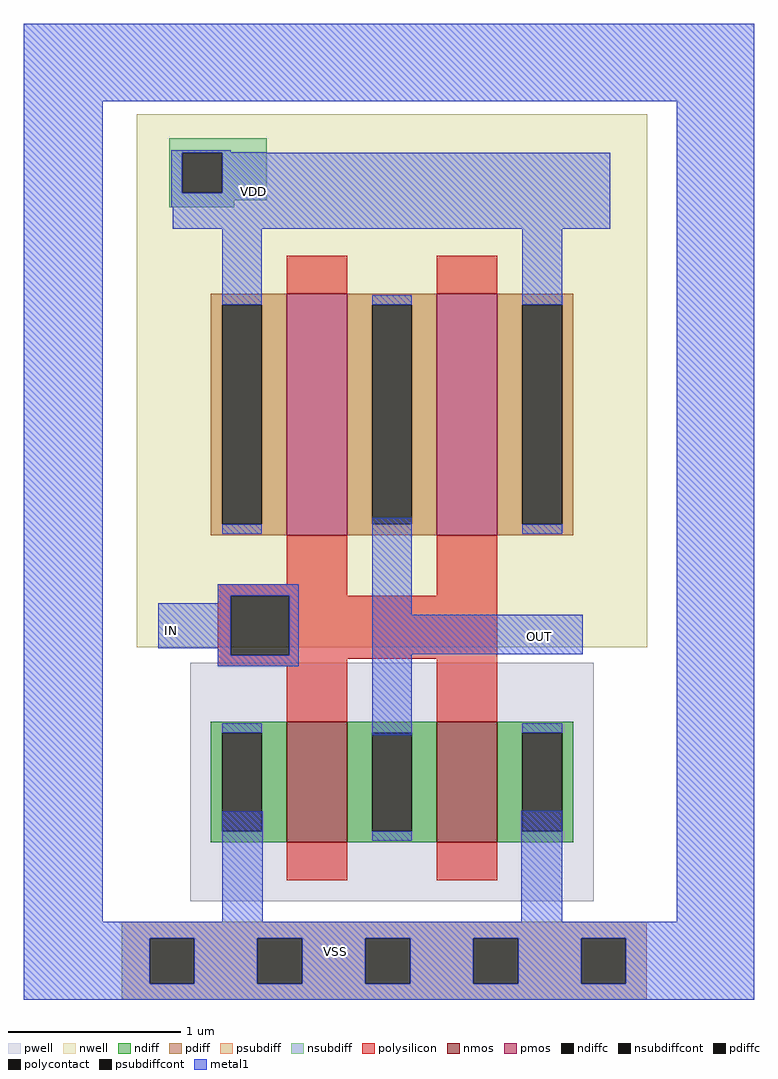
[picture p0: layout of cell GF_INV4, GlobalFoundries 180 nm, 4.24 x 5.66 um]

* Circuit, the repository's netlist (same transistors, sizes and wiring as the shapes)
* NGSPICE file created from GF_INV4.ext - technology: gf180mcuC

.subckt nmos_3p3_9MTZEK a_n52_n70# a_52_n114# a_n122_n114# a_n210_n70# a_122_n70#
+ VSUBS
X0 a_n52_n70# a_n122_n114# a_n210_n70# VSUBS nfet_03v3 ad=0.182p pd=1.22u as=0.308p ps=2.28u w=0.7u l=0.35u
X1 a_122_n70# a_52_n114# a_n52_n70# VSUBS nfet_03v3 ad=0.308p pd=2.28u as=0.182p ps=1.22u w=0.7u l=0.35u
.ends

.subckt pmos_3p3_585UPK a_52_n184# a_122_n140# a_n52_n140# a_n122_n184# a_n210_n140#
+ w_n296_n270#
X0 a_122_n140# a_52_n184# a_n52_n140# w_n296_n270# pfet_03v3 ad=0.616p pd=3.68u as=0.364p ps=1.92u w=1.4u l=0.35u
X1 a_n52_n140# a_n122_n184# a_n210_n140# w_n296_n270# pfet_03v3 ad=0.364p pd=1.92u as=0.616p ps=3.68u w=1.4u l=0.35u
.ends

.subckt GF_INV4 VDD IN OUT VSS
Xnmos_3p3_9MTZEK_0 OUT IN IN VSS VSS VSS nmos_3p3_9MTZEK
Xpmos_3p3_585UPK_0 IN VDD OUT IN VDD VDD pmos_3p3_585UPK
.ends

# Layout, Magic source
magic
tech gf180mcuC
magscale 1 10
<< nwell >>
rect -15 429 577 545
rect -15 428 17 429
rect 540 428 577 429
rect 27 420 534 426
<< psubdiff >>
rect -32 -410 576 -391
rect -32 -463 0 -410
rect 52 -463 125 -410
rect 177 -463 250 -410
rect 302 -463 375 -410
rect 427 -463 500 -410
rect 552 -463 576 -410
rect -32 -481 576 -463
<< nsubdiff >>
rect 23 500 136 517
rect 23 454 38 500
rect 84 454 136 500
rect 23 445 136 454
rect 23 437 98 445
<< psubdiffcont >>
rect 0 -463 52 -410
rect 125 -463 177 -410
rect 250 -463 302 -410
rect 375 -463 427 -410
rect 500 -463 552 -410
<< nsubdiffcont >>
rect 38 454 84 500
<< polysilicon >>
rect 159 0 229 16
rect 79 -13 229 0
rect 333 -13 403 17
rect 79 -82 94 -13
rect 162 -82 403 -13
rect 79 -86 403 -82
rect 79 -95 229 -86
rect 159 -117 229 -95
rect 333 -116 403 -86
<< polycontact >>
rect 94 -82 162 -13
<< metal1 >>
rect -146 560 701 650
rect -146 -391 -54 560
rect 25 501 94 503
rect 25 500 135 501
rect 25 454 38 500
rect 84 454 534 500
rect 25 437 534 454
rect 27 412 534 437
rect 84 333 130 412
rect 432 334 478 412
rect 79 -13 173 0
rect 79 -22 94 -13
rect 10 -74 94 -22
rect 79 -82 94 -74
rect 162 -82 173 -13
rect 79 -95 173 -82
rect 258 -35 304 77
rect 258 -81 502 -35
rect 258 -175 304 -81
rect 84 -391 131 -263
rect 431 -391 478 -262
rect 611 -391 701 560
rect -146 -410 701 -391
rect -146 -463 0 -410
rect 52 -463 125 -410
rect 177 -463 250 -410
rect 302 -463 375 -410
rect 427 -463 500 -410
rect 552 -463 701 -410
rect -146 -481 701 -463
use nmos_3p3_9MTZEK  nmos_3p3_9MTZEK_0
transform 1 0 281 0 1 -229
box -234 -138 234 138
use pmos_3p3_585UPK  pmos_3p3_585UPK_0
transform 1 0 281 0 1 197
box -296 -270 296 270
<< labels >>
flabel metal1 25 -53 25 -53 0 FreeSans 320 0 0 0 IN
port 1 nsew
flabel metal1 452 -60 452 -60 0 FreeSans 320 0 0 0 OUT
port 2 nsew
flabel metal1 216 -425 216 -425 0 FreeSans 320 0 0 0 VSS
port 3 nsew
flabel metal1 121 455 121 455 0 FreeSans 320 0 0 0 VDD
port 0 nsew
<< end >>

# cell nmos_3p3_9MTZEK: kit device nmos_3p3, w 0.7 l 0.35 m 1 nf 2 diffcov 100 polycov 100 guard 0 glc 0 grc 0 gtc 0 gbc 0 tbcov 100 rlcov 100 topc 0 botc 0 poverlap 0 doverlap 1 lmin 0.28 wmin 0.22 full_metal 0 compatible {nmos_3p3 nmos_6p0 nmos_6p0_nat}

# cell pmos_3p3_585UPK: kit device pmos_3p3, w 1.4 l 0.35 m 1 nf 2 diffcov 100 polycov 100 guard 0 glc 0 grc 0 gtc 0 gbc 0 tbcov 100 rlcov 100 topc 0 botc 0 poverlap 0 doverlap 1 lmin 0.28 wmin 0.22 full_metal 0 compatible {pmos_3p3 pmos_6p0}
